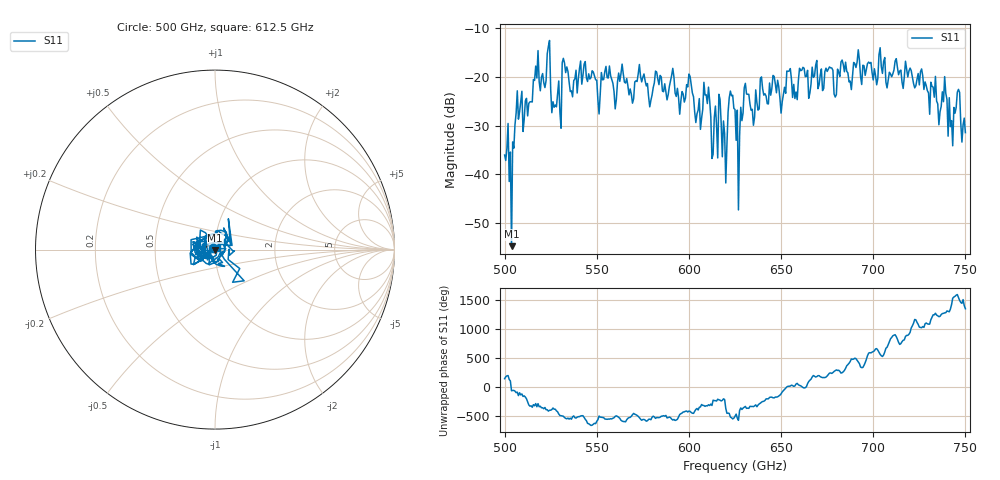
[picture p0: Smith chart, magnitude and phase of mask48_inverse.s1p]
!Created with skrf (http://scikit-rf.org).
# GHz S MA R 50.0
!freq magS11 angS11
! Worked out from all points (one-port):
!   401 points, 500 GHz to 750 GHz, reference 50 ohm
!   lowest |S11| = -54.8 dB at 503.8 GHz (marker M1), VSWR 1.00, Z = 50.1 - j0.172 ohm
!   |S11| at or under -10 dB: start of sweep to end of sweep
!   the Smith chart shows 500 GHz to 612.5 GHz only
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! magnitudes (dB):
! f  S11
! 500 GHz  -36.1
! 503.8 GHz  -54.8
! 506.9 GHz  -22.8
! 513.8 GHz  -25.1
! 516.9 GHz  -17.7
! 523.8 GHz  -13.7
! 526.9 GHz  -26.2
! 531.2 GHz  -17.1
! 562.5 GHz  -20.9
! 593.8 GHz  -22.3
! 600 GHz  -19.4
! 605 GHz  -26.8
! 609.4 GHz  -23.7
! 612.5 GHz  -36.8
! 619.4 GHz  -31.7
! 622.5 GHz  -22.9
! 625 GHz  -26.7
! 626.9 GHz  -47.4
! 631.2 GHz  -23.5
! 634.4 GHz  -26.7
! 656.2 GHz  -24.2
! 687.5 GHz  -20.8
! 718.8 GHz  -20.0
! 735.6 GHz  -29.8
! 738.8 GHz  -19.9
! 741.9 GHz  -30.2
! 745.6 GHz  -23.1
! 750 GHz  -31.5
